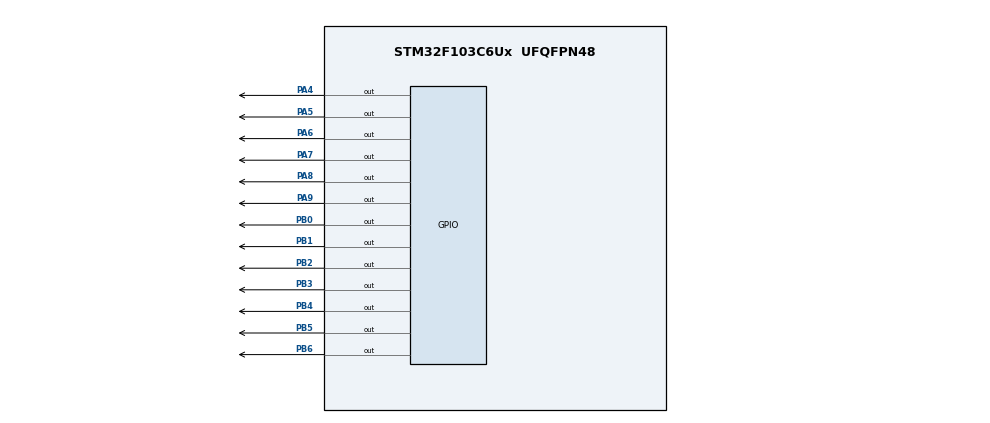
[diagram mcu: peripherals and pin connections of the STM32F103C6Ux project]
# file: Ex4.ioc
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Mcu.Family=STM32F1
Mcu.Name=STM32F103C6Ux
Mcu.Package=UFQFPN48
NVIC.PriorityGroup=NVIC_PRIORITYGROUP_4
NVIC.TIM2_IRQn=true\:0\:0\:false\:false\:true\:true\:true\:true
PA13.Mode=Serial_Wire
PA13.Signal=SYS_JTMS-SWDIO
PA14.Mode=Serial_Wire
PA14.Signal=SYS_JTCK-SWCLK
PA4.Signal=GPIO_Output
PA5.Signal=GPIO_Output
PA6.PinState=GPIO_PIN_SET
PA6.Signal=GPIO_Output
PA7.PinState=GPIO_PIN_SET
PA7.Signal=GPIO_Output
PA8.PinState=GPIO_PIN_SET
PA8.Signal=GPIO_Output
PA9.PinState=GPIO_PIN_SET
PA9.Signal=GPIO_Output
PB0.Signal=GPIO_Output
PB1.Signal=GPIO_Output
PB2.Signal=GPIO_Output
PB3.Signal=GPIO_Output
PB4.Signal=GPIO_Output
PB5.Signal=GPIO_Output
PB6.Signal=GPIO_Output
ProjectManager.HeapSize=0x200
ProjectManager.StackSize=0x400
ProjectManager.TargetToolchain=STM32CubeIDE
RCC.APB1Freq_Value=8000000
RCC.APB2Freq_Value=8000000
TIM2.Period=9
TIM2.Prescaler=7999
VP_TIM2_VS_ClockSourceINT.Mode=Internal
board=custom

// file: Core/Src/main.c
/* USER CODE BEGIN Header */
/**
  ******************************************************************************
  * @file           : main.c
  * @brief          : Main program body
  ******************************************************************************
  * @attention
  *
  * Copyright (c) 2026 STMicroelectronics.
  * All rights reserved.
  *
  * This software is licensed under terms that can be found in the LICENSE file
  * in the root directory of this software component.
  * If no LICENSE file comes with this software, it is provided AS-IS.
  *
  ******************************************************************************
  */
/* USER CODE END Header */
#include "main.h"

TIM_HandleTypeDef htim2;

/* USER CODE BEGIN PV */
const int MAX_LED = 4;
int index_led = 0;
int led_buffer[4] = {2, 0, 0, 6};

int counter_led = 25;
int counter_dot = 100;
/* USER CODE END PV */

void SystemClock_Config(void);
static void MX_GPIO_Init(void);
static void MX_TIM2_Init(void);
/* USER CODE BEGIN PFP */
void display7SEG(int num);
void update7SEG(int index);
/* USER CODE END PFP */

/* USER CODE BEGIN 0 */
void display7SEG(int num) {
    uint8_t seg_code[10] = {
        0x40, // 0
        0x79, // 1
        0x24, // 2
        0x30, // 3
        0x19, // 4
        0x12, // 5
        0x02, // 6
        0x78, // 7
        0x00, // 8
        0x10  // 9
    };

    uint16_t GPIO_PIN_SEG[7] = {
        GPIO_PIN_0, GPIO_PIN_1, GPIO_PIN_2, GPIO_PIN_3,
        GPIO_PIN_4, GPIO_PIN_5, GPIO_PIN_6
    };

    if (num >= 0 && num <= 9) {
        uint8_t code = seg_code[num];
        for (int i = 0; i < 7; i++) {
            HAL_GPIO_WritePin(GPIOB, GPIO_PIN_SEG[i], ((code >> i) & 0x01) ? GPIO_PIN_SET : GPIO_PIN_RESET);
        }
    }
}

void update7SEG(int index) {
    HAL_GPIO_WritePin(GPIOA, GPIO_PIN_6 | GPIO_PIN_7 | GPIO_PIN_8 | GPIO_PIN_9, GPIO_PIN_SET);

    switch (index) {
        case 0:
            display7SEG(led_buffer[0]);
            HAL_GPIO_WritePin(GPIOA, GPIO_PIN_6, GPIO_PIN_RESET);
            break;
        case 1:
            display7SEG(led_buffer[1]);
            HAL_GPIO_WritePin(GPIOA, GPIO_PIN_7, GPIO_PIN_RESET);
            break;
        case 2:
            display7SEG(led_buffer[2]);
            HAL_GPIO_WritePin(GPIOA, GPIO_PIN_8, GPIO_PIN_RESET);
            break;
        case 3:
            display7SEG(led_buffer[3]);
            HAL_GPIO_WritePin(GPIOA, GPIO_PIN_9, GPIO_PIN_RESET);
            break;
        default:
            break;
    }
}
/* USER CODE END 0 */

int main(void)
{

  /* MCU Configuration--------------------------------------------------------*/

  /* Reset of all peripherals, Initializes the Flash interface and the Systick. */
  HAL_Init();

  /* Configure the system clock */
  SystemClock_Config();

  /* Initialize all configured peripherals */
  MX_GPIO_Init();
  MX_TIM2_Init();
  /* USER CODE BEGIN 2 */
  HAL_TIM_Base_Start_IT(&htim2);
  /* USER CODE END 2 */

  /* Infinite loop */
  while (1)
  {

  }
}

void SystemClock_Config(void)
{
  RCC_OscInitTypeDef RCC_OscInitStruct = {0};
  RCC_ClkInitTypeDef RCC_ClkInitStruct = {0};

  /** Initializes the RCC Oscillators according to the specified parameters
  * in the RCC_OscInitTypeDef structure.
  */
  RCC_OscInitStruct.OscillatorType = RCC_OSCILLATORTYPE_HSI;
  RCC_OscInitStruct.HSIState = RCC_HSI_ON;
  RCC_OscInitStruct.HSICalibrationValue = RCC_HSICALIBRATION_DEFAULT;
  RCC_OscInitStruct.PLL.PLLState = RCC_PLL_NONE;
  if (HAL_RCC_OscConfig(&RCC_OscInitStruct) != HAL_OK)
  {
    Error_Handler();
  }

  /** Initializes the CPU, AHB and APB buses clocks
  */
  RCC_ClkInitStruct.ClockType = RCC_CLOCKTYPE_HCLK|RCC_CLOCKTYPE_SYSCLK
                              |RCC_CLOCKTYPE_PCLK1|RCC_CLOCKTYPE_PCLK2;
  RCC_ClkInitStruct.SYSCLKSource = RCC_SYSCLKSOURCE_HSI;
  RCC_ClkInitStruct.AHBCLKDivider = RCC_SYSCLK_DIV1;
  RCC_ClkInitStruct.APB1CLKDivider = RCC_HCLK_DIV1;
  RCC_ClkInitStruct.APB2CLKDivider = RCC_HCLK_DIV1;

  if (HAL_RCC_ClockConfig(&RCC_ClkInitStruct, FLASH_LATENCY_0) != HAL_OK)
  {
    Error_Handler();
  }
}

static void MX_TIM2_Init(void)
{

  TIM_ClockConfigTypeDef sClockSourceConfig = {0};
  TIM_MasterConfigTypeDef sMasterConfig = {0};

  htim2.Instance = TIM2;
  htim2.Init.Prescaler = 7999;
  htim2.Init.CounterMode = TIM_COUNTERMODE_UP;
  htim2.Init.Period = 9;
  htim2.Init.ClockDivision = TIM_CLOCKDIVISION_DIV1;
  htim2.Init.AutoReloadPreload = TIM_AUTORELOAD_PRELOAD_DISABLE;
  if (HAL_TIM_Base_Init(&htim2) != HAL_OK)
  {
    Error_Handler();
  }
  sClockSourceConfig.ClockSource = TIM_CLOCKSOURCE_INTERNAL;
  if (HAL_TIM_ConfigClockSource(&htim2, &sClockSourceConfig) != HAL_OK)
  {
    Error_Handler();
  }
  sMasterConfig.MasterOutputTrigger = TIM_TRGO_RESET;
  sMasterConfig.MasterSlaveMode = TIM_MASTERSLAVEMODE_DISABLE;
  if (HAL_TIMEx_MasterConfigSynchronization(&htim2, &sMasterConfig) != HAL_OK)
  {
    Error_Handler();
  }

}

static void MX_GPIO_Init(void)
{
  GPIO_InitTypeDef GPIO_InitStruct = {0};

  /* GPIO Ports Clock Enable */
  __HAL_RCC_GPIOA_CLK_ENABLE();
  __HAL_RCC_GPIOB_CLK_ENABLE();
  __HAL_RCC_AFIO_CLK_ENABLE();

  /* Tắt JTAG để sử dụng chân PB3 làm GPIO thường cho nét d của LED 7 đoạn */
  __HAL_AFIO_REMAP_SWJ_NOJTAG();

  /*Configure GPIO pin Output Level */
  HAL_GPIO_WritePin(GPIOA, GPIO_PIN_4|GPIO_PIN_5, GPIO_PIN_RESET);

  /*Configure GPIO pin Output Level */
  HAL_GPIO_WritePin(GPIOA, GPIO_PIN_6|GPIO_PIN_7|GPIO_PIN_8|GPIO_PIN_9, GPIO_PIN_SET);

  /*Configure GPIO pin Output Level */
  HAL_GPIO_WritePin(GPIOB, GPIO_PIN_0|GPIO_PIN_1|GPIO_PIN_2|GPIO_PIN_3
                          |GPIO_PIN_4|GPIO_PIN_5|GPIO_PIN_6, GPIO_PIN_RESET);

  /*Configure GPIO pins : PA4 PA5 PA6 PA7
                           PA8 PA9 */
  GPIO_InitStruct.Pin = GPIO_PIN_4|GPIO_PIN_5|GPIO_PIN_6|GPIO_PIN_7
                          |GPIO_PIN_8|GPIO_PIN_9;
  GPIO_InitStruct.Mode = GPIO_MODE_OUTPUT_PP;
  GPIO_InitStruct.Pull = GPIO_NOPULL;
  GPIO_InitStruct.Speed = GPIO_SPEED_FREQ_LOW;
  HAL_GPIO_Init(GPIOA, &GPIO_InitStruct);

  /*Configure GPIO pins : PB0 PB1 PB2 PB3
                           PB4 PB5 PB6 */
  GPIO_InitStruct.Pin = GPIO_PIN_0|GPIO_PIN_1|GPIO_PIN_2|GPIO_PIN_3
                          |GPIO_PIN_4|GPIO_PIN_5|GPIO_PIN_6;
  GPIO_InitStruct.Mode = GPIO_MODE_OUTPUT_PP;
  GPIO_InitStruct.Pull = GPIO_NOPULL;
  GPIO_InitStruct.Speed = GPIO_SPEED_FREQ_LOW;
  HAL_GPIO_Init(GPIOB, &GPIO_InitStruct);

}

/* USER CODE BEGIN 4 */
void HAL_TIM_PeriodElapsedCallback(TIM_HandleTypeDef *htim) {
    if (htim->Instance == TIM2) {

        counter_dot--;
        if (counter_dot <= 0) {
            counter_dot = 100;
            HAL_GPIO_TogglePin(GPIOA, GPIO_PIN_4);
        }

        counter_led--;
        if (counter_led <= 0) {
            counter_led = 25;

            update7SEG(index_led);

            index_led++;
            if (index_led >= MAX_LED) {
                index_led = 0;
            }
        }
    }
}
/* USER CODE END 4 */

void Error_Handler(void)
{
  __disable_irq();
  while (1)
  {
  }
}
